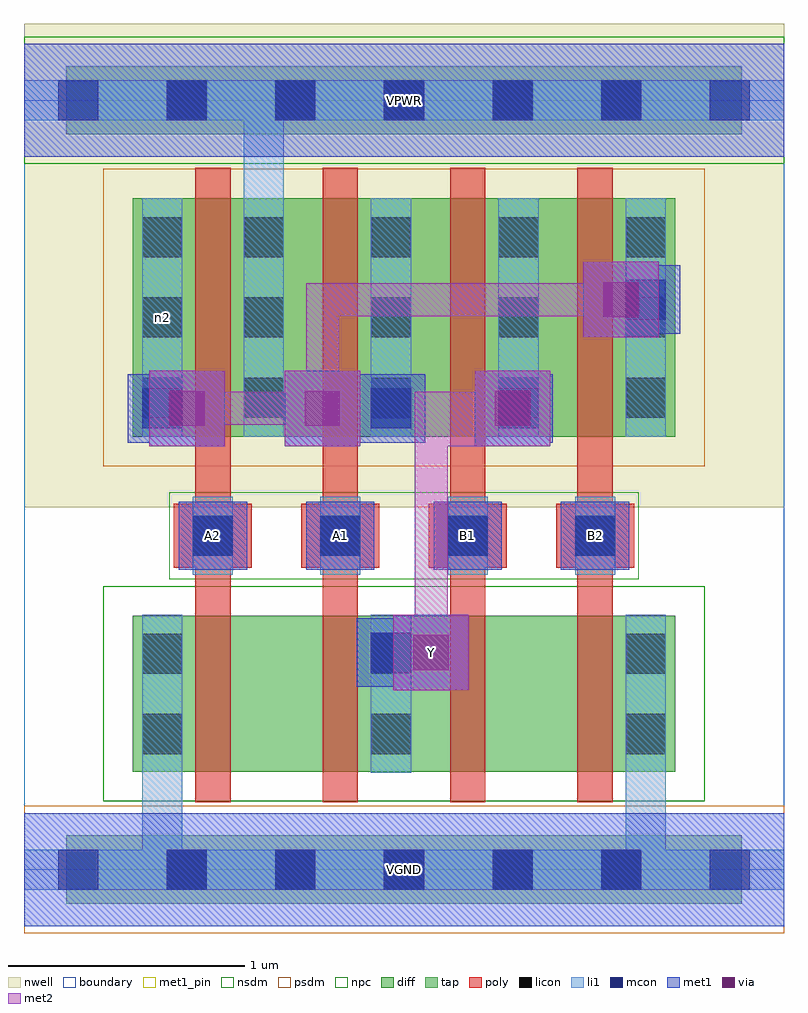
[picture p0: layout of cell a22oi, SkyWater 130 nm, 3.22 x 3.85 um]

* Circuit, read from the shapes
.subckt a22oi A1 A2 B1 B2 VGND VPWR Y n2
XM1 n1 A2 VGND VGND sky130_fd_pr__nfet_01v8 w=0.66 l=0.15
XM2 Y A1 n1 VGND sky130_fd_pr__nfet_01v8 w=0.66 l=0.15
XM3 n3 B1 Y VGND sky130_fd_pr__nfet_01v8 w=0.66 l=0.15
XM4 VGND B2 n3 VGND sky130_fd_pr__nfet_01v8 w=0.66 l=0.15
XM5 VPWR A2 n2 VPWR sky130_fd_pr__pfet_01v8 w=1.01 l=0.15
XM6 n2 A1 VPWR VPWR sky130_fd_pr__pfet_01v8 w=1.01 l=0.15
XM7 Y B1 n2 VPWR sky130_fd_pr__pfet_01v8 w=1.01 l=0.15
XM8 n2 B2 Y VPWR sky130_fd_pr__pfet_01v8 w=1.01 l=0.15
.ends

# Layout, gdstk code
import gdstk
lib = gdstk.Library(unit=1e-6, precision=1e-09)
def R(c, l, rs):  # rectangles x0, y0, x1, y1
    for r in rs: c.add(gdstk.rectangle(r[:2], r[2:], *l))
def A(c, l, x, y, w, h, nx, ny, dx, dy):  # array of equal rectangles
    R(c, l, [(x+i*dx, y+j*dy, x+i*dx+w, y+j*dy+h) for i in range(nx) for j in range(ny)])
nwell = (64, 20)
diff = (65, 20)
tap = (65, 44)
poly = (66, 20)
licon = (66, 44)
li1 = (67, 20)
mcon = (67, 44)
met1_pin = (68, 16)
met1 = (68, 20)
via = (68, 44)
met2 = (69, 20)
nsdm = (93, 44)
psdm = (94, 20)
npc = (95, 20)
boundary = (235, 4)

a22oi = lib.new_cell('a22oi')
R(a22oi, nwell, [(0,1.535,3.22,3.585)])
R(a22oi, diff, [(0.46,0.415,2.76,1.075), (0.46,1.835,2.76,2.845)])
R(a22oi, tap, [(0.18,-0.145,3.04,0.145), (0.18,3.115,3.04,3.405)])
A(a22oi, poly, 0.725, 0.285, 0.15, 2.69, 4, 1, 0.54, 0)
A(a22oi, poly, 0.635, 1.28, 0.33, 0.27, 4, 1, 0.54, 0)
A(a22oi, licon, 0.605, -0.085, 0.17, 0.17, 5, 2, 0.46, 3.26)
A(a22oi, licon, 0.715, 1.33, 0.17, 0.17, 4, 1, 0.54, 0)
A(a22oi, licon, 0.5, 1.915, 0.17, 0.17, 1, 3, 0, 0.34)
A(a22oi, licon, 0.93, 1.915, 0.17, 0.17, 4, 3, 0.54, 0.34)
R(a22oi, licon, [(0.5,0.49,0.67,0.66), (1.47,0.49,1.64,0.66), (2.55,0.49,2.72,0.66), (0.5,0.83,0.67,1), (1.47,0.83,1.64,1), (2.55,0.83,2.72,1)])
A(a22oi, li1, 0.715, 1.25, 0.17, 0.33, 4, 1, 0.54, 0)
A(a22oi, li1, 0.93, 1.835, 0.17, 1.01, 4, 1, 0.54, 0)
R(a22oi, li1, [(0,-0.085,3.22,0.085), (0.5,-0.085,0.67,1.08), (2.55,-0.085,2.72,1.08), (0.5,0.41,0.67,1.08), (1.47,0.41,1.64,1.08), (2.55,0.41,2.72,1.08), (0.5,1.835,0.67,2.845), (0.93,1.835,1.1,3.345), (0,3.175,3.22,3.345)])
A(a22oi, mcon, 0.145, -0.085, 0.17, 0.17, 7, 2, 0.46, 3.26)
A(a22oi, mcon, 0.715, 1.33, 0.17, 0.17, 4, 1, 0.54, 0)
R(a22oi, mcon, [(1.47,0.835,1.64,1.005), (0.5,1.87,0.67,2.04), (1.47,1.87,1.64,2.04), (2.01,1.87,2.18,2.04), (2.55,2.33,2.72,2.5)])
A(a22oi, met1_pin, 0.655, 1.27, 0.29, 0.29, 4, 1, 0.54, 0)
R(a22oi, met1_pin, [(0,-0.24,3.22,0.24), (1.565,0.76,1.885,1.08), (0,3.02,3.22,3.5)])
A(a22oi, met1, 0.655, 1.27, 0.29, 0.29, 4, 1, 0.54, 0)
R(a22oi, met1, [(0,-0.24,3.22,0.24), (1.565,0.76,1.885,1.08), (1.41,0.775,1.7,1.065), (1.485,0.85,1.795,0.99), (0.53,1.795,0.85,2.115), (1.105,1.795,1.425,2.115), (1.91,1.795,2.23,2.115), (0.44,1.81,0.73,2.1), (1.41,1.81,1.7,2.1), (1.95,1.81,2.24,2.1), (0.515,1.885,0.76,2.025), (1.195,1.885,1.45,2.025), (1.31,1.885,1.625,2.025), (2,1.885,2.165,2.025), (2.37,2.255,2.69,2.575), (2.49,2.27,2.78,2.56), (2.46,2.345,2.705,2.485), (0,3.02,3.22,3.5)])
R(a22oi, via, [(1.65,0.845,1.8,0.995), (0.615,1.88,0.765,2.03), (1.19,1.88,1.34,2.03), (1.995,1.88,2.145,2.03), (2.455,2.34,2.605,2.49)])
R(a22oi, met2, [(1.565,0.76,1.885,1.08), (1.655,0.85,1.795,2.025), (0.53,1.795,0.85,2.115), (1.105,1.795,1.425,2.115), (1.795,1.795,1.91,2.025), (1.91,1.795,2.23,2.115), (0.62,1.885,1.335,2.025), (1.195,1.885,1.335,2.485), (1.655,1.885,2.14,2.025), (2.37,2.255,2.69,2.575), (1.195,2.345,2.6,2.485)])
R(a22oi, nsdm, [(0.335,0.29,2.885,1.2), (0,2.99,3.22,3.53)])
R(a22oi, psdm, [(0,-0.27,3.22,0.27), (0.335,1.71,2.885,2.97)])
R(a22oi, npc, [(0.615,1.23,2.605,1.6)])
R(a22oi, boundary, [(0,0,3.22,3.26)])
a22oi.add(gdstk.Label('n2', (0.585,2.34), layer=67, texttype=5))
a22oi.add(gdstk.Label('A1', (1.34,1.415), layer=68, texttype=5))
a22oi.add(gdstk.Label('A2', (0.8,1.415), layer=68, texttype=5))
a22oi.add(gdstk.Label('B1', (1.88,1.415), layer=68, texttype=5))
a22oi.add(gdstk.Label('B2', (2.42,1.415), layer=68, texttype=5))
a22oi.add(gdstk.Label('Y', (1.725,0.92), layer=68, texttype=5))
a22oi.add(gdstk.Label('VPWR', (1.61,3.26), layer=68, texttype=5))
a22oi.add(gdstk.Label('VGND', (1.61,0), layer=68, texttype=5))
a22oi.add(gdstk.Label('A1', (1.34,1.415), layer=68, texttype=16))
a22oi.add(gdstk.Label('A2', (0.8,1.415), layer=68, texttype=16))
a22oi.add(gdstk.Label('B1', (1.88,1.415), layer=68, texttype=16))
a22oi.add(gdstk.Label('B2', (2.42,1.415), layer=68, texttype=16))
a22oi.add(gdstk.Label('Y', (1.725,0.92), layer=68, texttype=16))
a22oi.add(gdstk.Label('VPWR', (1.61,3.26), layer=68, texttype=16))
a22oi.add(gdstk.Label('VGND', (1.61,0), layer=68, texttype=16))

lib.write_gds('a22oi.gds')
